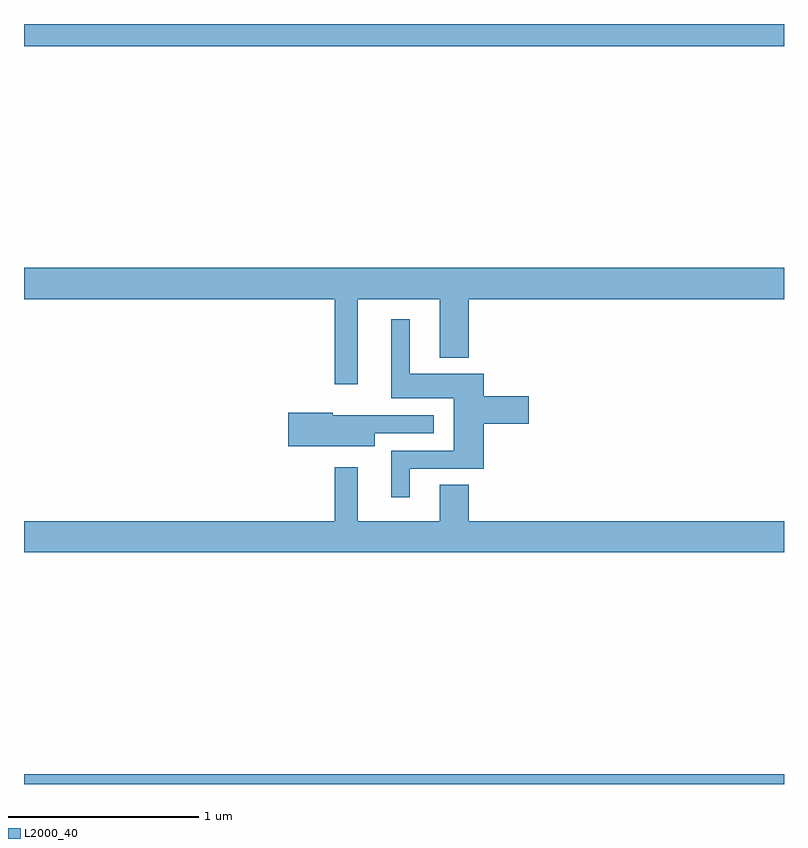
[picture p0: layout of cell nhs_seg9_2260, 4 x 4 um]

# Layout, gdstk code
import gdstk
lib = gdstk.Library(unit=1e-6, precision=1e-09)
def R(c, l, rs):  # rectangles x0, y0, x1, y1
    for r in rs: c.add(gdstk.rectangle(r[:2], r[2:], *l))
def P(c, l, *ps):  # polygons
    for p in ps: c.add(gdstk.Polygon(p, *l))
L2000_40 = (2000, 40)

nhs_seg9_2260 = lib.new_cell('nhs_seg9_2260')
R(nhs_seg9_2260, L2000_40, [(239,1228.5,243,1228.552), (239,1232.384,243,1232.5)])
P(nhs_seg9_2260, L2000_40, [(240.757,1231.052),(241.187,1231.052),(241.187,1230.743),(241.34,1230.743),(241.34,1231.052),(243,1231.052),(243,1231.216),(239,1231.216),(239,1231.052),(240.636,1231.052),(240.636,1230.603),(240.757,1230.603)],
  [(241.03,1230.159),(241.421,1230.159),(241.421,1230.395),(241.657,1230.395),(241.657,1230.542),(241.421,1230.542),(241.421,1230.658),(241.03,1230.658),(241.03,1230.946),(240.932,1230.946),(240.932,1230.53),(241.262,1230.53),(241.262,1230.255),(240.932,1230.255),(240.932,1230.009),(241.03,1230.009)],
  [(240.847,1230.345),(241.156,1230.345),(241.156,1230.441),(240.843,1230.441),(240.843,1230.442),(240.624,1230.442),(240.624,1230.455),(240.39,1230.455),(240.39,1230.277),(240.847,1230.277)],
  [(243,1229.884),(241.34,1229.884),(241.34,1230.074),(241.187,1230.074),(241.187,1229.884),(240.757,1229.884),(240.757,1230.166),(240.636,1230.166),(240.636,1229.884),(239,1229.884),(239,1229.72),(243,1229.72)])

lib.write_gds('nhs_seg9_2260.gds')
